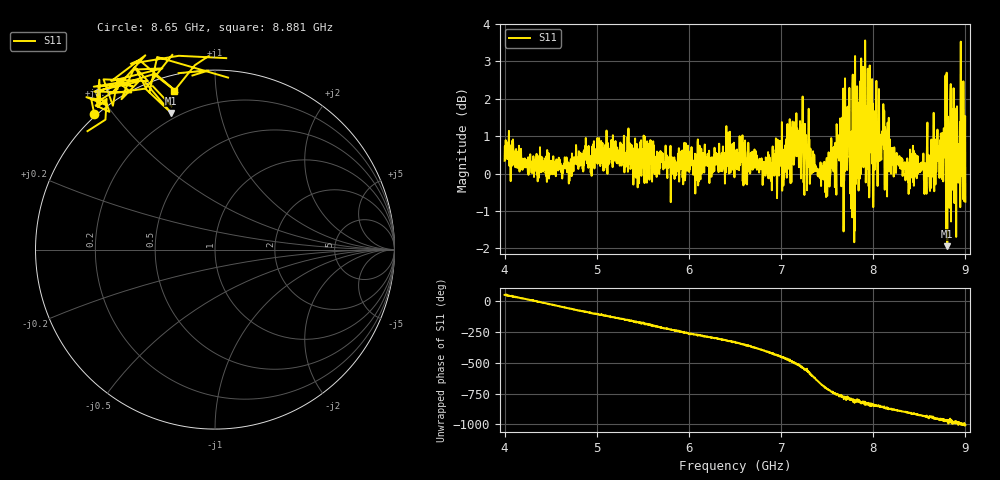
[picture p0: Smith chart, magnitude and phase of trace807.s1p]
! Created with skrf 1.8.0 (http://scikit-rf.org).
# Hz S RI R 50.0
!freq ReS11 ImS11
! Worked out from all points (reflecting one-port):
!   1601 points, 4 GHz to 9 GHz, reference 50 ohm
!   lowest |S11| = -1.9 dB at 8.803 GHz (marker M1), VSWR 8.98, Z = 8.48 + j35.8 ohm
!   phase of S11 starts at 49 deg and turns -1054 deg over the sweep
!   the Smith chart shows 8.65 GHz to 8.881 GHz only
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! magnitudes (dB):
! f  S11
! 4 GHz  0.3
! 4.625 GHz  -0.1
! 5.038 GHz  0.2
! 5.25 GHz  0.2
! 5.875 GHz  0.3
! 6.5 GHz  0.3
! 6.875 GHz  0.4
! 7.125 GHz  1.4
! 7.209 GHz  1.3
! 7.262 GHz  0.7
! 7.281 GHz  -0.4
! 7.328 GHz  0.2
! 7.503 GHz  -0.3
! 7.65 GHz  0.8
! 7.703 GHz  0.3
! 7.719 GHz  0.5
! 7.75 GHz  -0.5
! 7.775 GHz  2.4
! 7.891 GHz  0.5
! 7.981 GHz  0.6
! 8.088 GHz  0.4
! 8.197 GHz  0.6
! 8.375 GHz  -0.1
! 8.803 GHz  -1.9
! 8.834 GHz  0.8
! 8.875 GHz  0.6
! 8.972 GHz  -0.1
! 9 GHz  -0.8
